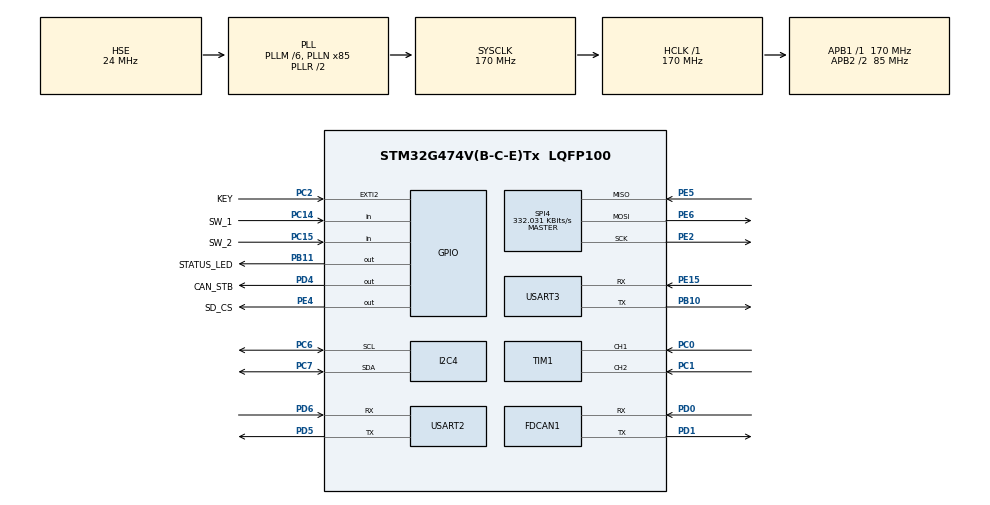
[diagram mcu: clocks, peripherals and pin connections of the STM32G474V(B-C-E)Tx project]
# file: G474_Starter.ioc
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FDCAN1.AutoRetransmission=ENABLE
FDCAN1.CalculateBaudRateNominal=500000
FDCAN1.CalculateTimeBitNominal=2000
FDCAN1.CalculateTimeQuantumNominal=125.0
FDCAN1.NominalPrescaler=3
FDCAN1.NominalSyncJumpWidth=2
FDCAN1.NominalTimeSeg1=13
FDCAN1.NominalTimeSeg2=2
FDCAN1.StdFiltersNbr=1
I2C4.Timing=0x40B285C2
Mcu.Family=STM32G4
Mcu.Name=STM32G474V(B-C-E)Tx
Mcu.Package=LQFP100
NVIC.EXTI2_IRQn=true\:3\:0\:true\:false\:true\:true\:true\:true
NVIC.FDCAN1_IT0_IRQn=true\:1\:0\:true\:false\:true\:true\:true\:true
NVIC.PriorityGroup=NVIC_PRIORITYGROUP_4
NVIC.USART2_IRQn=true\:2\:0\:true\:false\:true\:true\:true\:true
PA13.Mode=Serial_Wire
PA13.Signal=SYS_JTMS-SWDIO
PA14.Mode=Serial_Wire
PA14.Signal=SYS_JTCK-SWCLK
PB10.Mode=Asynchronous
PB10.Signal=USART3_TX
PB11.GPIO_Label=STATUS_LED
PB11.PinState=GPIO_PIN_SET
PB11.Signal=GPIO_Output
PC0.Signal=S_TIM1_CH1
PC1.Signal=S_TIM1_CH2
PC14-OSC32_IN.GPIO_Label=SW_1
PC14-OSC32_IN.Signal=GPIO_Input
PC15-OSC32_OUT.GPIO_Label=SW_2
PC15-OSC32_OUT.Signal=GPIO_Input
PC2.GPIO_Label=KEY
PC2.GPIO_ModeDefaultEXTI=GPIO_MODE_IT_FALLING
PC2.GPIO_PuPd=GPIO_PULLUP
PC2.Signal=GPXTI2
PC6.GPIO_Speed=GPIO_SPEED_FREQ_HIGH
PC6.Mode=I2C
PC6.Signal=I2C4_SCL
PC7.GPIO_Speed=GPIO_SPEED_FREQ_HIGH
PC7.Mode=I2C
PC7.Signal=I2C4_SDA
PD0.Mode=FDCAN_Activate
PD0.Signal=FDCAN1_RX
PD1.Mode=FDCAN_Activate
PD1.Signal=FDCAN1_TX
PD4.GPIO_Label=CAN_STB
PD4.Signal=GPIO_Output
PD5.Mode=Asynchronous
PD5.Signal=USART2_TX
PD6.Mode=Asynchronous
PD6.Signal=USART2_RX
PE15.Mode=Asynchronous
PE15.Signal=USART3_RX
PE2.GPIO_Speed=GPIO_SPEED_FREQ_HIGH
PE2.Mode=Full_Duplex_Master
PE2.Signal=SPI4_SCK
PE4.GPIO_Label=SD_CS
PE4.GPIO_Speed=GPIO_SPEED_FREQ_HIGH
PE4.PinState=GPIO_PIN_SET
PE4.Signal=GPIO_Output
PE5.GPIO_Speed=GPIO_SPEED_FREQ_HIGH
PE5.Mode=Full_Duplex_Master
PE5.Signal=SPI4_MISO
PE6.GPIO_Speed=GPIO_SPEED_FREQ_HIGH
PE6.Mode=Full_Duplex_Master
PE6.Signal=SPI4_MOSI
PF0-OSC_IN.Mode=HSE-External-Oscillator
PF0-OSC_IN.Signal=RCC_OSC_IN
PF1-OSC_OUT.Mode=HSE-External-Oscillator
PF1-OSC_OUT.Signal=RCC_OSC_OUT
ProjectManager.HeapSize=0x200
ProjectManager.StackSize=0x400
ProjectManager.TargetToolchain=CMake
RCC.ADC12Freq_Value=170000000
RCC.ADC345Freq_Value=170000000
RCC.AHBFreq_Value=170000000
RCC.APB1Freq_Value=170000000
RCC.APB1TimFreq_Value=170000000
RCC.APB2CLKDivider=RCC_HCLK_DIV2
RCC.APB2Freq_Value=85000000
RCC.APB2TimFreq_Value=170000000
RCC.CortexFreq_Value=170000000
RCC.EXTERNAL_CLOCK_VALUE=12288000
RCC.FDCANCLockSelection=RCC_FDCANCLKSOURCE_HSE
RCC.HCLKFreq_Value=170000000
RCC.HSE_VALUE=24000000
RCC.HSI48_VALUE=48000000
RCC.HSI_VALUE=16000000
RCC.LSE_VALUE=32768
RCC.PLLM=RCC_PLLM_DIV6
RCC.PLLN=85
RCC.PLLSourceVirtual=RCC_PLLSOURCE_HSE
RCC.SYSCLKFreq_VALUE=170000000
RCC.SYSCLKSource=RCC_SYSCLKSOURCE_PLLCLK
RCC.USBFreq_Value=170000000
RCC.VCOOutputFreq_Value=340000000
SH.S_TIM1_CH1.0=TIM1_CH1,Encoder_Interface
SH.S_TIM1_CH2.0=TIM1_CH2,Encoder_Interface
SPI4.BaudRatePrescaler=SPI_BAUDRATEPRESCALER_256
SPI4.CalculateBaudRate=332.031 KBits/s
SPI4.DataSize=SPI_DATASIZE_8BIT
SPI4.Direction=SPI_DIRECTION_2LINES
SPI4.Mode=SPI_MODE_MASTER
SPI4.NSSPMode=SPI_NSS_PULSE_DISABLE
SPI4.VirtualType=VM_MASTER
TIM1.EncoderMode=TIM_ENCODERMODE_TI12
USART2.VirtualMode-Asynchronous=VM_ASYNC
USART3.VirtualMode-Asynchronous=VM_ASYNC
VP_SYS_VS_DBSignals.Mode=DisableDeadBatterySignals
board=custom

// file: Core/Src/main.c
/* USER CODE BEGIN Header */
/**
  ******************************************************************************
  * @file           : main.c
  * @brief          : Main program body
  ******************************************************************************
  * @attention
  *
  * Copyright (c) 2026 STMicroelectronics.
  * All rights reserved.
  *
  * This software is licensed under terms that can be found in the LICENSE file
  * in the root directory of this software component.
  * If no LICENSE file comes with this software, it is provided AS-IS.
  *
  ******************************************************************************
  */
/* USER CODE END Header */
#include "main.h"
#include "fdcan.h"
#include "i2c.h"
#include "spi.h"
#include "tim.h"
#include "usart.h"
#include "gpio.h"

/* USER CODE BEGIN Includes */
#include <stdio.h>
#include <string.h>
#include "can_demo.h"
#include "encoder.h"
#include "fram.h"
#include "oled.h"
#include "sdcard.h"
/* USER CODE END Includes */

/* USER CODE BEGIN PTD */
/*
 * 一个枚举只允许 current_mode 同时取一个值，比“每个页面一个标志位”更安全：
 * 不会出现 LED 页面和 CAN 页面两个标志同时为 1 的冲突状态。
 */
typedef enum
{
  MODE_MENU,
  MODE_SYSTEM,
  MODE_LED,
  MODE_KEY,
  MODE_ENCODER,
  MODE_SWITCH,
  MODE_FRAM,
  MODE_SD,
  MODE_UART,
  MODE_CAN,
  MODE_OLED
} DemoMode;

/*
 * PC2 按键消抖状态机。机械触点在按下/松开瞬间会抖动数毫秒，不能把每个
 * GPIO 跳变都当成一次按键。主循环按时间依次确认“稳定按下”和“稳定松开”。
 */
typedef enum
{
  KEY_IDLE,
  KEY_PRESS_DEBOUNCE,
  KEY_PRESSED,
  KEY_RELEASE_DEBOUNCE
} KeyState;
/* USER CODE END PTD */

/* USER CODE BEGIN PD */
#define MENU_ITEM_COUNT       10U
#define MENU_VISIBLE_ITEMS     6U
#define KEY_DEBOUNCE_MS       20U
#define KEY_LONG_PRESS_MS    800U
#define OLED_REFRESH_MS      100U
/* USER CODE END PD */

/* USER CODE BEGIN PV */
/* 菜单文字和目标页面一一对应；增加菜单项时必须同时修改这两个数组。 */
static const char *const menu_text[MENU_ITEM_COUNT] =
{
  "System Status", "LED Test", "Key Test", "Encoder Test", "DIP Switch",
  "FRAM Test", "SD Card Test", "UART Test", "CAN Test", "OLED Test"
};

static const DemoMode menu_mode[MENU_ITEM_COUNT] =
{
  MODE_SYSTEM, MODE_LED, MODE_KEY, MODE_ENCODER, MODE_SWITCH,
  MODE_FRAM, MODE_SD, MODE_UART, MODE_CAN, MODE_OLED
};

static DemoMode current_mode = MODE_MENU;
static uint8_t menu_index;
/* mode_first_entry 用于执行页面的一次性动作；screen_dirty 请求提前刷新。 */
static uint8_t mode_first_entry = 1U;
static uint8_t screen_dirty = 1U;
static uint32_t screen_tick;

/*
 * key_irq_flag 在中断和主循环之间共享，因此必须用 volatile，防止编译器
 * 假设它不会突然改变。中断只置位，消抖、计时和页面操作都留在主循环。
 */
static volatile uint8_t key_irq_flag;
static uint8_t key_short_event;
static uint8_t key_long_event;
static KeyState key_state = KEY_IDLE;
static uint8_t key_long_sent;
static uint32_t key_change_tick;
static uint32_t key_press_tick;

static int32_t menu_encoder_position;
static uint32_t led_tick;
static uint32_t led_toggle_count;
static uint32_t key_press_count;
static int32_t encoder_previous_raw;
static char encoder_direction = '-';
static uint8_t fram_test_result;
static uint8_t oled_pattern;

/* UART2 回调只保存最新字节；耗时的回显发送在主循环中完成。 */
static uint8_t uart2_rx_byte;
static volatile uint8_t uart2_last_byte;
static volatile uint8_t uart2_rx_pending;
static volatile uint32_t uart2_rx_count;
static uint32_t uart2_tx_count;
static uint32_t uart3_tx_count;
static uint32_t uart3_tick;

static uint32_t can_payload_count;
static uint8_t can_send_result;
static uint8_t system_oled_detected;
static uint8_t system_fram_detected;
/* USER CODE END PV */

void SystemClock_Config(void);
/* USER CODE BEGIN PFP */
static void Key_Update(void);
static void Mode_Enter(DemoMode mode);
static uint8_t Display_IsDue(void);
static void Display_Footer(void);
static void Menu_Process(void);
static void System_TestProcess(void);
static void LED_TestProcess(void);
static void Key_TestProcess(void);
static void Encoder_TestProcess(void);
static void Switch_TestProcess(void);
static void FRAM_TestProcess(void);
static void SD_TestProcess(void);
static void UART_TestProcess(void);
static void CAN_TestProcess(void);
static void OLED_TestProcess(void);
/* USER CODE END PFP */

/* USER CODE BEGIN 0 */
/*
 * 非阻塞周期判断：函数不会停在 HAL_Delay() 等待，而是立即返回。
 * 无符号减法在 HAL_GetTick() 回绕时仍能正确计算较短的时间间隔。
 */
static uint8_t Display_IsDue(void)
{
  uint32_t now = HAL_GetTick();

  if (screen_dirty || ((now - screen_tick) >= OLED_REFRESH_MS))
  {
    screen_dirty = 0U;
    screen_tick = now;
    return 1U;
  }
  return 0U;
}

static void Display_Footer(void)
{
  OLED_ShowString(0U, 56U, "Hold KEY = Back");
}

static void Mode_Enter(DemoMode mode)
{
  /* PB11低电平点亮；离开LED测试时确保灯关闭。 */
  if ((current_mode == MODE_LED) && (mode != MODE_LED))
  {
    HAL_GPIO_WritePin(STATUS_LED_GPIO_Port, STATUS_LED_Pin, GPIO_PIN_SET);
  }

  current_mode = mode;
  /* 新页面在下一次主循环中执行一次初始化，并立即重画。 */
  mode_first_entry = 1U;
  screen_dirty = 1U;
  key_short_event = 0U;

  if (mode == MODE_MENU)
  {
    menu_encoder_position = Encoder_GetCount();
  }
}

static void Key_Update(void)
{
  uint32_t now = HAL_GetTick();
  uint8_t pressed =
      (HAL_GPIO_ReadPin(KEY_GPIO_Port, KEY_Pin) == GPIO_PIN_RESET);

  switch (key_state)
  {
    case KEY_IDLE:
      /* EXTI 下降沿只负责把状态机从空闲状态唤醒。 */
      if (key_irq_flag)
      {
        key_irq_flag = 0U;
        key_change_tick = now;
        key_state = KEY_PRESS_DEBOUNCE;
      }
      break;

    case KEY_PRESS_DEBOUNCE:
      /* 20 ms 后仍为低电平，才承认一次真正的按下。 */
      if (!pressed)
      {
        key_state = KEY_IDLE;
      }
      else if ((now - key_change_tick) >= KEY_DEBOUNCE_MS)
      {
        key_press_tick = now;
        key_long_sent = 0U;
        key_state = KEY_PRESSED;
      }
      break;

    case KEY_PRESSED:
      /* 持续 800 ms 只产生一次长按事件；短按事件要等松手后才产生。 */
      if (!pressed)
      {
        key_change_tick = now;
        key_state = KEY_RELEASE_DEBOUNCE;
      }
      else if (!key_long_sent &&
               ((now - key_press_tick) >= KEY_LONG_PRESS_MS))
      {
        key_long_event = 1U;
        key_long_sent = 1U;
      }
      break;

    case KEY_RELEASE_DEBOUNCE:
      /* 松开也要消抖，避免一次操作被识别成多次短按。 */
      if (pressed)
      {
        key_state = KEY_PRESSED;
      }
      else if ((now - key_change_tick) >= KEY_DEBOUNCE_MS)
      {
        if (!key_long_sent)
        {
          key_short_event = 1U;
        }
        key_state = KEY_IDLE;
      }
      break;

    default:
      key_state = KEY_IDLE;
      break;
  }
}

static void Menu_Process(void)
{
  int32_t encoder_position;
  int32_t movement;
  uint8_t first_item;
  uint8_t row;

  if (mode_first_entry)
  {
    menu_encoder_position = Encoder_GetCount();
    mode_first_entry = 0U;
  }

  /* 只关心本次位置相对上次位置的变化，不要求编码器计数从 0 开始。 */
  encoder_position = Encoder_GetCount();
  movement = encoder_position - menu_encoder_position;
  while (movement > 0)
  {
    menu_index = (uint8_t)((menu_index + 1U) % MENU_ITEM_COUNT);
    --movement;
    screen_dirty = 1U;
  }
  while (movement < 0)
  {
    menu_index = (menu_index == 0U) ?
                 (MENU_ITEM_COUNT - 1U) : (uint8_t)(menu_index - 1U);
    ++movement;
    screen_dirty = 1U;
  }
  menu_encoder_position = encoder_position;

  if (key_short_event)
  {
    Mode_Enter(menu_mode[menu_index]);
    return;
  }

  if (!Display_IsDue())
  {
    return;
  }

  /* 128x64 屏幕一次显示 6 个菜单项，整页切换起始下标。 */
  first_item = (uint8_t)((menu_index / MENU_VISIBLE_ITEMS) *
                         MENU_VISIBLE_ITEMS);
  OLED_Clear();
  OLED_ShowString(0U, 0U, "G474 DEMO MENU");
  for (row = 0U; row < MENU_VISIBLE_ITEMS; ++row)
  {
    uint8_t item = (uint8_t)(first_item + row);
    char line[22];

    if (item >= MENU_ITEM_COUNT)
    {
      break;
    }
    (void)snprintf(line, sizeof(line), "%c %s",
                   (item == menu_index) ? '>' : ' ', menu_text[item]);
    OLED_ShowString(0U, (uint8_t)(8U + row * 8U), line);
  }
  OLED_ShowString(0U, 56U, "Rotate / Press");
  (void)OLED_Refresh();
}

static void System_TestProcess(void)
{
  char line[22];

  /* 首次进入或短按时重新探测；空闲显示时不持续占用 I2C 总线。 */
  if (mode_first_entry || key_short_event)
  {
    system_oled_detected =
        (HAL_I2C_IsDeviceReady(&hi2c4, OLED_ADDRESS << 1U, 2U, 50U) == HAL_OK);
    system_fram_detected = (FRAM_Init() == HAL_OK);
    CAN_Process();
    mode_first_entry = 0U;
    screen_dirty = 1U;
  }

  if (!Display_IsDue())
  {
    return;
  }

  CAN_Process();
  OLED_Clear();
  OLED_ShowString(0U, 0U, "SYSTEM STATUS");
  (void)snprintf(line, sizeof(line), "SYSCLK:%lu MHz",
                 (unsigned long)(HAL_RCC_GetSysClockFreq() / 1000000U));
  OLED_ShowString(0U, 8U, line);
  (void)snprintf(line, sizeof(line), "OLED:%s FRAM:%s",
                 system_oled_detected ? "OK" : "ERR",
                 system_fram_detected ? "OK" : "ERR");
  OLED_ShowString(0U, 16U, line);
  (void)snprintf(line, sizeof(line), "SPI4:%lu kHz",
                 (unsigned long)(SD_GetSpiClock() / 1000U));
  OLED_ShowString(0U, 24U, line);
  OLED_ShowString(0U, 32U, CAN_BusOff ? "CAN:BUS-OFF 500K" :
                                      (CAN_Started ? "CAN:OK 500K" :
                                                     "CAN:INIT ERR"));
  if (SD_FileResult == SD_FILE_NOT_TESTED)
  {
    OLED_ShowString(0U, 40U, "SD:NOT TESTED");
  }
  else
  {
    OLED_ShowString(0U, 40U,
                    (SD_FileResult == SD_FILE_PASS) ? "SD:PASS" : "SD:FAIL");
  }
  OLED_ShowString(0U, 48U, "Press=Rescan");
  Display_Footer();
  (void)OLED_Refresh();
}

static void LED_TestProcess(void)
{
  char line[22];
  uint32_t now = HAL_GetTick();

  if (mode_first_entry)
  {
    HAL_GPIO_WritePin(STATUS_LED_GPIO_Port, STATUS_LED_Pin, GPIO_PIN_SET);
    led_toggle_count = 0U;
    led_tick = now;
    mode_first_entry = 0U;
  }

  /* PB11 低电平点亮。用 Tick 调度闪烁，主循环仍可继续扫描按键。 */
  if ((now - led_tick) >= 500U)
  {
    led_tick = now;
    HAL_GPIO_TogglePin(STATUS_LED_GPIO_Port, STATUS_LED_Pin);
    ++led_toggle_count;
    screen_dirty = 1U;
  }

  if (!Display_IsDue())
  {
    return;
  }

  OLED_Clear();
  OLED_ShowString(0U, 0U, "LED TEST - PB11");
  OLED_ShowString(0U, 16U,
      (HAL_GPIO_ReadPin(STATUS_LED_GPIO_Port, STATUS_LED_Pin) == GPIO_PIN_RESET) ?
      "LED STATE: ON" : "LED STATE: OFF");
  (void)snprintf(line, sizeof(line), "TOGGLE:%lu",
                 (unsigned long)led_toggle_count);
  OLED_ShowString(0U, 32U, line);
  OLED_ShowString(0U, 40U, "Period:500 ms");
  Display_Footer();
  (void)OLED_Refresh();
}

static void Key_TestProcess(void)
{
  char line[22];

  if (mode_first_entry)
  {
    key_press_count = 0U;
    mode_first_entry = 0U;
  }
  if (key_short_event)
  {
    ++key_press_count;
    screen_dirty = 1U;
  }

  if (!Display_IsDue())
  {
    return;
  }

  OLED_Clear();
  OLED_ShowString(0U, 0U, "KEY TEST - PC2");
  OLED_ShowString(0U, 16U, "Active level:LOW");
  (void)snprintf(line, sizeof(line), "Short press:%lu",
                 (unsigned long)key_press_count);
  OLED_ShowString(0U, 32U, line);
  OLED_ShowString(0U, 40U, "Press to count");
  Display_Footer();
  (void)OLED_Refresh();
}

static void Encoder_TestProcess(void)
{
  char line[22];
  int32_t raw;

  if (mode_first_entry)
  {
    encoder_previous_raw = Encoder_GetRawCount();
    encoder_direction = '-';
    mode_first_entry = 0U;
  }
  if (key_short_event)
  {
    Encoder_Reset();
    encoder_previous_raw = 0;
    encoder_direction = '-';
    screen_dirty = 1U;
  }

  raw = Encoder_GetRawCount();
  if (raw != encoder_previous_raw)
  {
    encoder_direction = (raw > encoder_previous_raw) ? '+' : '-';
    encoder_previous_raw = raw;
    screen_dirty = 1U;
  }

  if (!Display_IsDue())
  {
    return;
  }

  OLED_Clear();
  OLED_ShowString(0U, 0U, "ENCODER - TIM1");
  (void)snprintf(line, sizeof(line), "RAW:%ld", (long)raw);
  OLED_ShowString(0U, 16U, line);
  (void)snprintf(line, sizeof(line), "DETENT:%ld",
                 (long)Encoder_GetCount());
  OLED_ShowString(0U, 24U, line);
  (void)snprintf(line, sizeof(line), "DIRECTION:%c", encoder_direction);
  OLED_ShowString(0U, 32U, line);
  OLED_ShowString(0U, 40U, "Press=Zero");
  Display_Footer();
  (void)OLED_Refresh();
}

static void Switch_TestProcess(void)
{
  char line[22];
  uint8_t sw1;
  uint8_t sw2;

  if (mode_first_entry)
  {
    mode_first_entry = 0U;
  }
  /* 板上有外部上拉，因此拨到 ON 时引脚被接地，读到低电平。 */
  sw1 = (HAL_GPIO_ReadPin(SW_1_GPIO_Port, SW_1_Pin) == GPIO_PIN_RESET);
  sw2 = (HAL_GPIO_ReadPin(SW_2_GPIO_Port, SW_2_Pin) == GPIO_PIN_RESET);

  if (!Display_IsDue())
  {
    return;
  }

  OLED_Clear();
  OLED_ShowString(0U, 0U, "DIP SWITCH TEST");
  (void)snprintf(line, sizeof(line), "SW_1:%s", sw1 ? "ON" : "OFF");
  OLED_ShowString(0U, 16U, line);
  (void)snprintf(line, sizeof(line), "SW_2:%s", sw2 ? "ON" : "OFF");
  OLED_ShowString(0U, 24U, line);
  (void)snprintf(line, sizeof(line), "VALUE:0b%c%c",
                 sw2 ? '1' : '0', sw1 ? '1' : '0');
  OLED_ShowString(0U, 40U, line);
  Display_Footer();
  (void)OLED_Refresh();
}

static void FRAM_TestProcess(void)
{
  if (mode_first_entry)
  {
    mode_first_entry = 0U;
  }
  /* 写测试由用户短按触发，上电不会自动改写 FRAM 内容。 */
  if (key_short_event)
  {
    fram_test_result = FRAM_SelfTest() ? 1U : 2U;
    screen_dirty = 1U;
  }

  if (!Display_IsDue())
  {
    return;
  }

  OLED_Clear();
  OLED_ShowString(0U, 0U, "FRAM TEST - 0x50");
  OLED_ShowString(0U, 16U, FRAM_Ready ? "DEVICE:READY" : "DEVICE:ERROR");
  if (fram_test_result == 0U)
  {
    OLED_ShowString(0U, 32U, "RESULT:NOT TESTED");
  }
  else
  {
    OLED_ShowString(0U, 32U,
                    (fram_test_result == 1U) ? "RESULT:PASS" : "RESULT:FAIL");
  }
  OLED_ShowString(0U, 40U, "Press=Run safe test");
  OLED_ShowString(0U, 48U, "Backup then restore");
  Display_Footer();
  (void)OLED_Refresh();
}

static const char *SD_StepText(uint8_t step)
{
  uint8_t failed_step;

  if (SD_FileResult == SD_FILE_NOT_TESTED)
  {
    return "--";
  }
  if (SD_FileResult == SD_FILE_PASS)
  {
    return "PASS";
  }

  failed_step = (uint8_t)(SD_FileResult - 1U);
  if (step < failed_step)
  {
    return "PASS";
  }
  return (step == failed_step) ? "ERR" : "--";
}

static void SD_TestProcess(void)
{
  char line[22];

  if (mode_first_entry)
  {
    mode_first_entry = 0U;
  }
  /* 此操作会覆盖根目录中的 G474_DEMO.TXT，故只在用户短按后执行。 */
  if (key_short_event)
  {
    OLED_Clear();
    OLED_ShowString(0U, 0U, "SD CARD TEST");
    OLED_ShowString(0U, 24U, "Running...");
    (void)OLED_Refresh();
    (void)SD_FileTest();
    screen_dirty = 1U;
  }

  if (!Display_IsDue())
  {
    return;
  }

  OLED_Clear();
  OLED_ShowString(0U, 0U, "SD CARD TEST");
  (void)snprintf(line, sizeof(line), "Init  :%s", SD_StepText(1U));
  OLED_ShowString(0U, 8U, line);
  (void)snprintf(line, sizeof(line), "Mount :%s", SD_StepText(2U));
  OLED_ShowString(0U, 16U, line);
  (void)snprintf(line, sizeof(line), "Write :%s", SD_StepText(3U));
  OLED_ShowString(0U, 24U, line);
  (void)snprintf(line, sizeof(line), "Verify:%s", SD_StepText(4U));
  OLED_ShowString(0U, 32U, line);
  OLED_ShowString(0U, 40U, "File:G474_DEMO.TXT");
  OLED_ShowString(0U, 48U, "Press=Run");
  Display_Footer();
  (void)OLED_Refresh();
}

static void UART_TestProcess(void)
{
  char line[32];
  uint32_t now = HAL_GetTick();

  if (mode_first_entry)
  {
    uart2_rx_pending = 0U;
    uart2_rx_count = 0U;
    uart2_tx_count = 0U;
    uart3_tx_count = 0U;
    uart3_tick = now;
    mode_first_entry = 0U;
  }

  /*
   * 回调和主循环同时访问 pending/last_byte，复制时短暂关中断，避免刚读
   * 完标志却读到下一个字节。这里只关几个指令的时间，不影响正常接收。
   */
  if (uart2_rx_pending)
  {
    uint8_t value;
    uint32_t primask = __get_PRIMASK();

    __disable_irq();
    value = uart2_last_byte;
    uart2_rx_pending = 0U;
    if (primask == 0U)
    {
      __enable_irq();
    }
    if (HAL_UART_Transmit(&huart2, &value, 1U, 20U) == HAL_OK)
    {
      ++uart2_tx_count;
    }
    screen_dirty = 1U;
  }

  /* UART3 用阻塞发送演示最基础的 HAL API，但每秒只发一行，等待很短。 */
  if ((now - uart3_tick) >= 1000U)
  {
    int length;

    uart3_tick = now;
    ++uart3_tx_count;
    length = snprintf(line, sizeof(line), "USART3 TEST: %lu\r\n",
                      (unsigned long)uart3_tx_count);
    if (length > 0)
    {
      (void)HAL_UART_Transmit(&huart3, (uint8_t *)line,
                             (uint16_t)length, 100U);
    }
    screen_dirty = 1U;
  }

  if (!Display_IsDue())
  {
    return;
  }

  OLED_Clear();
  OLED_ShowString(0U, 0U, "UART TEST 115200");
  OLED_ShowString(0U, 8U, "UART2:RX + ECHO");
  (void)snprintf(line, sizeof(line), "RX:%lu TX:%lu",
                 (unsigned long)uart2_rx_count,
                 (unsigned long)uart2_tx_count);
  OLED_ShowString(0U, 16U, line);
  (void)snprintf(line, sizeof(line), "LAST:0x%02X '%c'", uart2_last_byte,
                 ((uart2_last_byte >= 0x20U) && (uart2_last_byte <= 0x7EU)) ?
                 (char)uart2_last_byte : '.');
  OLED_ShowString(0U, 24U, line);
  OLED_ShowString(0U, 32U, "UART3:TX EACH 1S");
  (void)snprintf(line, sizeof(line), "TX:%lu", (unsigned long)uart3_tx_count);
  OLED_ShowString(0U, 40U, line);
  Display_Footer();
  (void)OLED_Refresh();
}

static void CAN_TestProcess(void)
{
  char line[32];
  CAN_Frame frame;

  if (mode_first_entry)
  {
    can_send_result = 0U;
    mode_first_entry = 0U;
  }

  /* 周期读取协议状态，使无 ACK、Bus-Off 等错误能显示出来而不阻塞菜单。 */
  CAN_Process();
  if (key_short_event)
  {
    uint8_t data[8];
    HAL_StatusTypeDef result;

    /* 8 字节经典 CAN 数据：ASCII "G474" + 32 位小端递增计数。 */
    data[0] = 'G';
    data[1] = '4';
    data[2] = '7';
    data[3] = '4';
    data[4] = (uint8_t)can_payload_count;
    data[5] = (uint8_t)(can_payload_count >> 8U);
    data[6] = (uint8_t)(can_payload_count >> 16U);
    data[7] = (uint8_t)(can_payload_count >> 24U);
    result = CAN_SendStd(0x123U, data, sizeof(data));
    can_send_result = (result == HAL_OK) ? 1U :
                      ((result == HAL_BUSY) ? 2U : 3U);
    ++can_payload_count;
    screen_dirty = 1U;
  }

  if (!Display_IsDue())
  {
    return;
  }

  OLED_Clear();
  OLED_ShowString(0U, 0U, "CAN TEST - 500K");
  OLED_ShowString(0U, 8U, CAN_BusOff ? "STATUS:BUS-OFF" :
                                     (CAN_Started ? "STATUS:OK" :
                                                    "STATUS:INIT ERR"));
  (void)snprintf(line, sizeof(line), "TX:%lu RX:%lu",
                 (unsigned long)CAN_TxCount, (unsigned long)CAN_RxCount);
  OLED_ShowString(0U, 16U, line);
  if (CAN_GetLastFrame(&frame))
  {
    (void)snprintf(line, sizeof(line), "LAST ID:0x%03X", frame.id);
    OLED_ShowString(0U, 24U, line);
    (void)snprintf(line, sizeof(line), "DLC:%u", frame.length);
    OLED_ShowString(0U, 32U, line);
    (void)snprintf(line, sizeof(line), "%02X %02X %02X %02X",
                   frame.data[0], frame.data[1],
                   frame.data[2], frame.data[3]);
    OLED_ShowString(0U, 40U, line);
  }
  else
  {
    OLED_ShowString(0U, 24U, "LAST RX:NONE");
  }
  if (can_send_result == 0U)
  {
    OLED_ShowString(0U, 48U, "Press=Send 0x123");
  }
  else if (can_send_result == 1U)
  {
    OLED_ShowString(0U, 48U, "SEND:OK");
  }
  else if (can_send_result == 2U)
  {
    OLED_ShowString(0U, 48U, "SEND:FIFO FULL");
  }
  else
  {
    OLED_ShowString(0U, 48U, "SEND:ERROR");
  }
  Display_Footer();
  (void)OLED_Refresh();
}

static void OLED_TestProcess(void)
{
  uint8_t x;

  if (mode_first_entry)
  {
    oled_pattern = 0U;
    mode_first_entry = 0U;
    screen_dirty = 1U;
  }
  if (key_short_event)
  {
    oled_pattern = (uint8_t)((oled_pattern + 1U) % 3U);
    screen_dirty = 1U;
  }

  if (!Display_IsDue())
  {
    return;
  }

  if (oled_pattern == 0U)
  {
    OLED_ShowTestPattern();
  }
  else if (oled_pattern == 1U)
  {
    OLED_Fill(0xAAU);
    OLED_ShowString(20U, 24U, "PATTERN 2/3");
    OLED_ShowString(14U, 40U, "Press=Next");
  }
  else
  {
    OLED_Clear();
    for (x = 0U; x < 64U; ++x)
    {
      OLED_DrawPixel(x, x, 1U);
      OLED_DrawPixel((uint8_t)(127U - x), x, 1U);
    }
    OLED_ShowString(20U, 24U, "PATTERN 3/3");
    OLED_ShowString(14U, 40U, "Press=Next");
  }
  (void)OLED_Refresh();
}
/* USER CODE END 0 */

int main(void)
{

  /* MCU Configuration--------------------------------------------------------*/

  /* Reset of all peripherals, Initializes the Flash interface and the Systick. */
  HAL_Init();

  /* Configure the system clock */
  SystemClock_Config();

  /* Initialize all configured peripherals */
  MX_GPIO_Init();
  MX_FDCAN1_Init();
  MX_I2C4_Init();
  MX_SPI4_Init();
  MX_TIM1_Init();
  MX_USART2_UART_Init();
  MX_USART3_UART_Init();
  /* USER CODE BEGIN 2 */
  /*
   * 上面 MX_* 是 CubeMX 生成的底层初始化；下面是用户驱动初始化。
   * 上电只探测设备并启动接口，不自动执行 FRAM/SD 写测试。
   */
  OLED_Init();
  (void)FRAM_Init();
  Encoder_Init();
  (void)CAN_Init();

  /*
   * 入门时可以先用 HAL_UART_Receive() 学习阻塞接收；它会让 CPU 等待
   * 数据或超时。本工程还要同时刷新菜单和读取按键，所以改用单字节
   * 中断接收。每次完成后，回调会立即启动下一次接收。
   */
  if (HAL_UART_Receive_IT(&huart2, &uart2_rx_byte, 1U) != HAL_OK)
  {
    Error_Handler();
  }
  /* USER CODE END 2 */

  /* Infinite loop */
  /* USER CODE BEGIN WHILE */
  /*
   * 协作式单主循环：每次循环只做一点工作，没有页面内部的死循环。
   * 因此无论在哪个页面，编码器、按键和 CAN 状态都能持续得到处理。
   */
  while (1)
  {
    Encoder_Update();
    Key_Update();

    if (key_long_event)
    {
      key_long_event = 0U;
      if (current_mode != MODE_MENU)
      {
        Mode_Enter(MODE_MENU);
      }
    }

    switch (current_mode)
    {
      case MODE_MENU:    Menu_Process();        break;
      case MODE_SYSTEM:  System_TestProcess();  break;
      case MODE_LED:     LED_TestProcess();     break;
      case MODE_KEY:     Key_TestProcess();     break;
      case MODE_ENCODER: Encoder_TestProcess(); break;
      case MODE_SWITCH:  Switch_TestProcess();  break;
      case MODE_FRAM:    FRAM_TestProcess();    break;
      case MODE_SD:      SD_TestProcess();      break;
      case MODE_UART:    UART_TestProcess();    break;
      case MODE_CAN:     CAN_TestProcess();      break;
      case MODE_OLED:    OLED_TestProcess();     break;
      default:           Mode_Enter(MODE_MENU); break;
    }

    /* 每个短按事件只允许当前页面使用一次。 */
    key_short_event = 0U;
    /* USER CODE END WHILE */

  }
}

void SystemClock_Config(void)
{
  RCC_OscInitTypeDef RCC_OscInitStruct = {0};
  RCC_ClkInitTypeDef RCC_ClkInitStruct = {0};

  /** Configure the main internal regulator output voltage
  */
  HAL_PWREx_ControlVoltageScaling(PWR_REGULATOR_VOLTAGE_SCALE1_BOOST);

  /** Initializes the RCC Oscillators according to the specified parameters
  * in the RCC_OscInitTypeDef structure.
  */
  RCC_OscInitStruct.OscillatorType = RCC_OSCILLATORTYPE_HSE;
  RCC_OscInitStruct.HSEState = RCC_HSE_ON;
  RCC_OscInitStruct.PLL.PLLState = RCC_PLL_ON;
  RCC_OscInitStruct.PLL.PLLSource = RCC_PLLSOURCE_HSE;
  RCC_OscInitStruct.PLL.PLLM = RCC_PLLM_DIV6;
  RCC_OscInitStruct.PLL.PLLN = 85;
  RCC_OscInitStruct.PLL.PLLP = RCC_PLLP_DIV2;
  RCC_OscInitStruct.PLL.PLLQ = RCC_PLLQ_DIV2;
  RCC_OscInitStruct.PLL.PLLR = RCC_PLLR_DIV2;
  if (HAL_RCC_OscConfig(&RCC_OscInitStruct) != HAL_OK)
  {
    Error_Handler();
  }

  /** Initializes the CPU, AHB and APB buses clocks
  */
  RCC_ClkInitStruct.ClockType = RCC_CLOCKTYPE_HCLK|RCC_CLOCKTYPE_SYSCLK
                              |RCC_CLOCKTYPE_PCLK1|RCC_CLOCKTYPE_PCLK2;
  RCC_ClkInitStruct.SYSCLKSource = RCC_SYSCLKSOURCE_PLLCLK;
  RCC_ClkInitStruct.AHBCLKDivider = RCC_SYSCLK_DIV1;
  RCC_ClkInitStruct.APB1CLKDivider = RCC_HCLK_DIV1;
  RCC_ClkInitStruct.APB2CLKDivider = RCC_HCLK_DIV2;

  if (HAL_RCC_ClockConfig(&RCC_ClkInitStruct, FLASH_LATENCY_4) != HAL_OK)
  {
    Error_Handler();
  }
}

/* USER CODE BEGIN 4 */
void HAL_GPIO_EXTI_Callback(uint16_t GPIO_Pin)
{
  if (GPIO_Pin == KEY_Pin)
  {
    /* 中断里不消抖、不刷新OLED，只通知主循环有一次下降沿。 */
    key_irq_flag = 1U;
  }
}

void HAL_UART_RxCpltCallback(UART_HandleTypeDef *huart)
{
  if (huart->Instance == USART2)
  {
    /*
     * HAL 的单字节中断接收完成后会停止，必须再次调用 Receive_IT 才能
     * 接收下一个字节。回调内不做阻塞发送，避免中断占用时间过长。
     */
    uart2_last_byte = uart2_rx_byte;
    uart2_rx_pending = 1U;
    ++uart2_rx_count;
    (void)HAL_UART_Receive_IT(&huart2, &uart2_rx_byte, 1U);
  }
}
/* USER CODE END 4 */

void Error_Handler(void)
{
  __disable_irq();
  while (1)
  {
  }
}
